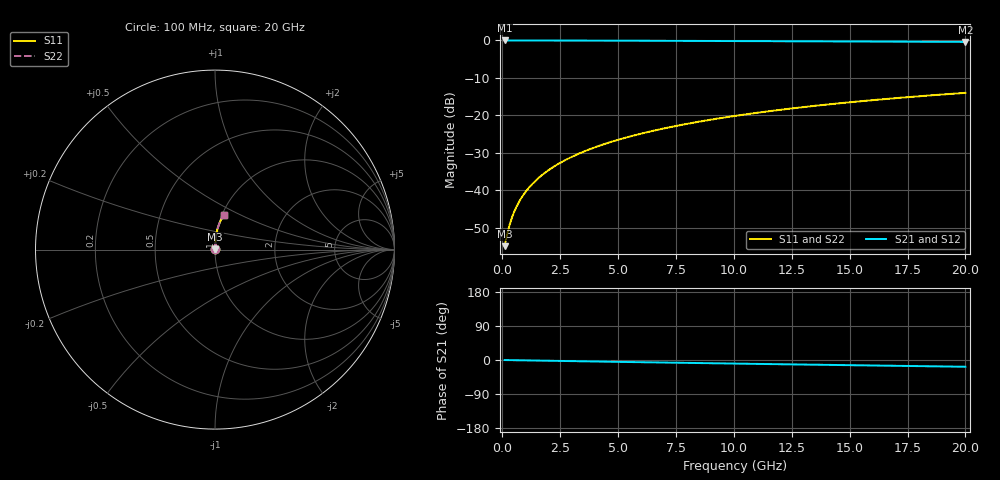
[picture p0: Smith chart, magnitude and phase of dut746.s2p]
! Touchstone file exported from HFSS 2024.1.0
!  File:  C:/UserFiles/LocalFiles/RDL_TSV_Batchsim/temp_RDL_top_746_1779851619.aedt
!  Generated:  11:16:04 AM May 27, 2026
!  Design:  RDL_top
!  Project:  temp_RDL_top_746_1779851619
!  Setup:  Setup1
!  Solution:  Sweep
! Variables:
!  dtsv = 10.80580581um
!  hbump = 3um
!  htsv = 50.21um
!  ldown = 100um
!  lrdl = 228.66um
!  p = 40
!  p1 = 42.73um
!  rhole = 1um
!  t = 450um
!  tdown = 3.915915916um
!  trdl = 3.46um
!  wdown = 15.38538539um
!  wrdl = 17.9um
# GHz S MA R 50.000000
! Terminal data exported
! Port[1] = Box2_T1
! Port[2] = Box2_T2
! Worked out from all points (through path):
!   200 points, 100 MHz to 20 GHz, reference 50 ohm
!   highest |S21| = -0.01 dB at 100 MHz (marker M1); lowest = -0.4 dB at 20 GHz (marker M2)
!   group delay of S21, straight-line fit = 2.46 ps
!   lowest |S11| = -54.9 dB at 100 MHz (marker M3), VSWR 1.00, Z = 50.2 + j0.1 ohm
!   |S11| at or under -10 dB: start of sweep to end of sweep
!   |S22| runs from -54.9 to -14.0 dB; largest |S21 - S12| = 2e-15
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0.1  0.001805 33.6  0.9985 -0.1  0.9985 -0.1  0.001805 33.6
! Gamma 0 0 0 0
! Port Impedance 50 0 50 0
0.2  0.002512 51.9  0.9984 -0.2  0.9984 -0.2  0.002512 51.9
0.3  0.003339 61.3  0.9984 -0.3  0.9984 -0.3  0.003339 61.3
0.4  0.004198 66.8  0.9983 -0.4  0.9983 -0.4  0.004198 66.8
0.5  0.005068 70.5  0.9982 -0.5  0.9982 -0.5  0.005068 70.5
0.6  0.005945 73.1  0.9982 -0.6  0.9982 -0.6  0.005945 73.1
0.8  0.007716 76.7  0.998 -0.8  0.998 -0.8  0.007716 76.7
1.1  0.01041 80.0  0.9979 -1.1  0.9979 -1.1  0.01041 80.0
1.3  0.01222 81.4  0.9977 -1.3  0.9977 -1.3  0.01222 81.4
1.6  0.01496 82.9  0.9975 -1.6  0.9975 -1.6  0.01496 82.9
2.1  0.01957 84.5  0.997 -2.1  0.997 -2.1  0.01957 84.5
2.7  0.02517 85.5  0.9962 -2.7  0.9962 -2.7  0.02517 85.5
3.5  0.03274 86.3  0.995 -3.5  0.995 -3.5  0.03274 86.3
4.2  0.03947 86.6  0.9938 -4.2  0.9938 -4.2  0.03947 86.6
5  0.04727 86.7  0.9922 -4.9  0.9922 -4.9  0.04727 86.7
5.9  0.05618 86.6  0.9903 -5.8  0.9903 -5.8  0.05618 86.6
6.8  0.06521 86.3  0.9882 -6.6  0.9882 -6.6  0.06521 86.3
8.4  0.08151 85.5  0.9844 -8.0  0.9844 -8.0  0.08151 85.5
10.1  0.09904 84.4  0.9802 -9.5  0.9802 -9.5  0.09904 84.4
13.4  0.1332 81.7  0.972 -12.4  0.972 -12.4  0.1332 81.7
16.7  0.1669 78.8  0.9635 -15.1  0.9635 -15.1  0.167 78.8
20  0.1999 75.9  0.9548 -17.8  0.9548 -17.8  0.1999 75.9
